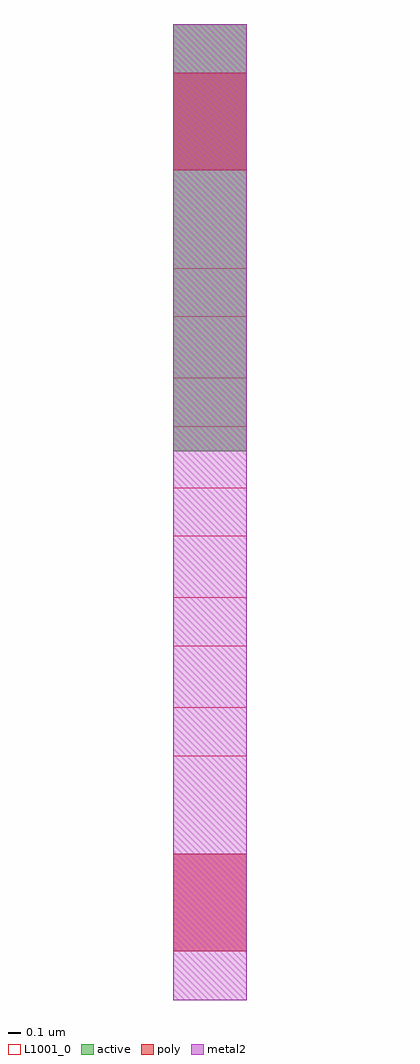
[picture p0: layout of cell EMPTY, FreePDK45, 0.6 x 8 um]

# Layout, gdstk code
import gdstk
lib = gdstk.Library(unit=1e-6, precision=1e-09)
def R(c, l, rs):  # rectangles x0, y0, x1, y1
    for r in rs: c.add(gdstk.rectangle(r[:2], r[2:], *l))
active = (1, 0)
poly = (9, 0)
metal2 = (13, 0)
L1001_0 = (1001, 0)

empty = lib.new_cell('EMPTY')
R(empty, active, [(0,4.5,0.6,8)])
R(empty, poly, [(0,0.4,0.6,1.2), (0,6.8,0.6,7.6)])
R(empty, metal2, [(0,0,0.6,8)])
empty.add(gdstk.FlexPath([(0,2.2),(0.6,2.2)], 0.4, ends="flush", simple_path=True, layer=1001, datatype=0))  # L1001_0
empty.add(gdstk.FlexPath([(0,3.1),(0.6,3.1)], 0.4, ends="flush", simple_path=True, layer=1001, datatype=0))  # L1001_0
empty.add(gdstk.FlexPath([(0,4),(0.6,4)], 0.4, ends="flush", simple_path=True, layer=1001, datatype=0))  # L1001_0
empty.add(gdstk.FlexPath([(0,4.9),(0.6,4.9)], 0.4, ends="flush", simple_path=True, layer=1001, datatype=0))  # L1001_0
empty.add(gdstk.FlexPath([(0,5.8),(0.6,5.8)], 0.4, ends="flush", simple_path=True, layer=1001, datatype=0))  # L1001_0

lib.write_gds('EMPTY.gds')
